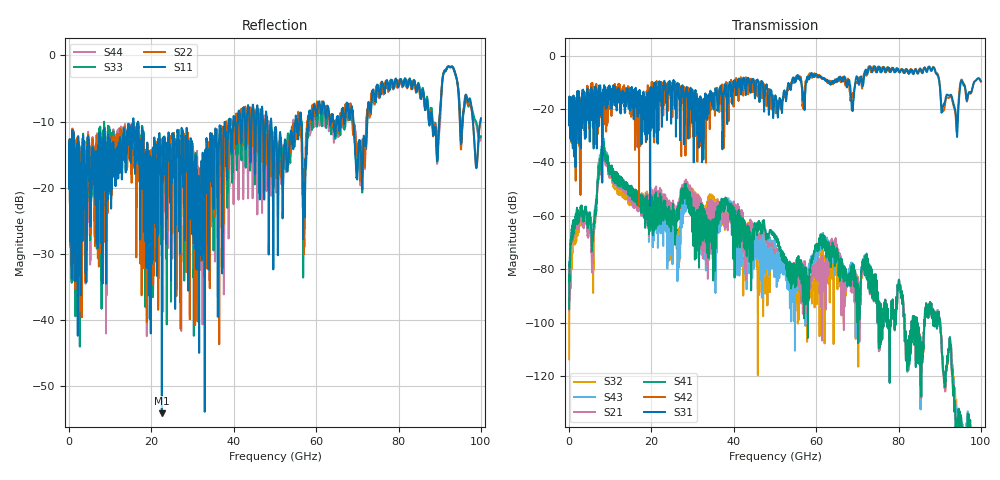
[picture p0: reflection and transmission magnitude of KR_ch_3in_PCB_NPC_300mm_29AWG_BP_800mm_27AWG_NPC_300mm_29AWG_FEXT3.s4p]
# GHz S RI R 45
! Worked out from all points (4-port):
!   4000 points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, 25 MHz to 100 GHz, reference 45 ohm
!   strongest paths, dB at 25 MHz, 25.02 GHz, 50.02 GHz, 75.03 GHz, 100 GHz:
!     S31: -20.7, -14.9, -15.6, -5.1, -9.6
!     S42: -20.6, -18.0, -18.0, -4.3, -9.8
!     S41: -94.8, -60.5, -67.0, -90.5, -147.7
!     S21: -95.5, -56.8, -74.0, -90.6, -153.0
!     S43: -94.9, -71.8, -71.3, -90.4, -153.9
!     S32: -113.8, -64.5, -77.5, -90.5, -154.8
!   lowest |S11| = -54.1 dB at 22.52 GHz (marker M1), VSWR 1.00, Z = 44.9 + j0.162 ohm
!   |S11| at or under -10 dB: start of sweep to 15.52 GHz; 16.75 GHz to 38.73 GHz (21.98 GHz wide, 79.2 % of centre); 49.11 GHz to 54.97 GHz (5.854 GHz wide, 11.2 % of centre) (the widest 3 of 28)
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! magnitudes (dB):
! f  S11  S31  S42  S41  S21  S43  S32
! 25 MHz  -16.1  -20.7  -20.6  -94.8  -95.5  -94.9  -113.8
! 5.775 GHz  -14.8  -26.9  -20.4  -68.9  -73.2  -68.0  -75.1
! 8.225 GHz  -14.4  -13.5  -21.1  -32.9  -34.8  -31.6  -33.2
! 22.52 GHz  -54.1  -23.3  -11.1  -60.9  -55.9  -66.5  -60.2
! 38.65 GHz  -11.9  -14.9  -14.6  -55.2  -59.9  -53.7  -57.2
! 54.15 GHz  -12.4  -9.5  -9.8  -79.0  -79.8  -83.5  -84.9
! 100 GHz  -9.5  -9.6  -9.8  -147.7  -153.0  -153.9  -154.8
